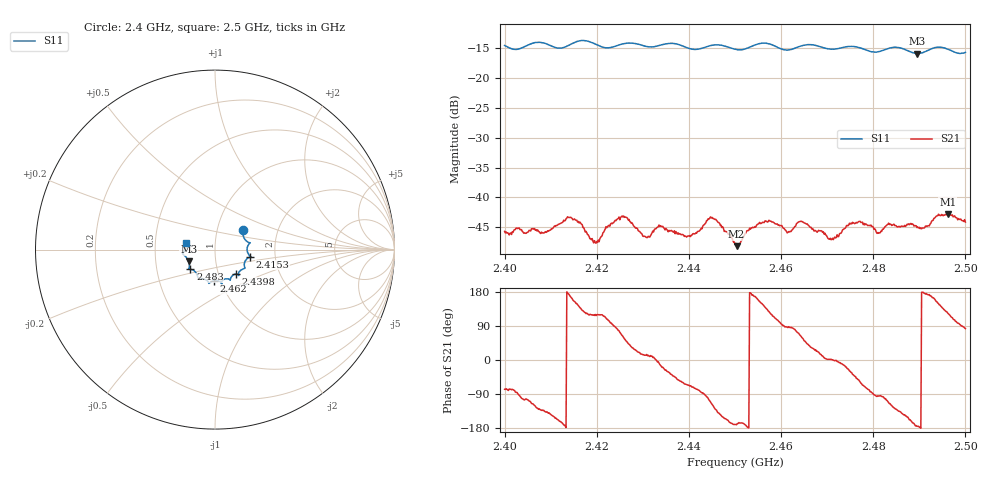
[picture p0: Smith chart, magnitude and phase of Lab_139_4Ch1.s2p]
# Hz S RI R 50
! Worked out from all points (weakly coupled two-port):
!   601 points, 2.4 GHz to 2.5 GHz, reference 50 ohm
!   highest |S21| = -42.79 dB at 2.4962 GHz (marker M1); lowest = -48.2 dB at 2.4503 GHz (marker M2)
!   lowest |S11| = -15.9 dB at 2.4895 GHz (marker M3), VSWR 1.38, Z = 36.9 - j5 ohm
!   |S11| at or under -10 dB: start of sweep to end of sweep
!   S12 and S22 are empty: the file has one direction only
!   S11 on the Smith chart (normalised r, x): 2.4 GHz: 1.33, +0.29; 2.4153 GHz: 1.48, -0.12; 2.4398 GHz: 1.21, -0.34; 2.462 GHz: 0.93, -0.33; 2.483 GHz: 0.74, -0.17; 2.5 GHz: 0.72, +0.06
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2.4e9  0.1549 0.1066  0.00114 -0.00506  0 0  0 0
2.415333e9  0.1967 -0.0385  -0.00574 0.00299  0 0  0 0
2.416667e9  0.2025 -0.0426  -0.00414 0.00431  0 0  0 0
2.419667e9  0.188 -0.0446  -0.0021 0.00361  0 0  0 0
2.425333e9  0.1655 -0.0979  0.00267 0.00634  0 0  0 0
2.4305e9  0.1475 -0.1123  0.0046 0.00101  0 0  0 0
2.433333e9  0.131 -0.1335  0.00566 -0.00043  0 0  0 0
2.439833e9  0.1151 -0.1361  0.00187 -0.00437  0 0  0 0
2.445e9  0.0846 -0.1685  -0.00303 -0.00609  0 0  0 0
2.45e9  0.0647 -0.1625  -0.00396 -0.000682  0 0  0 0
2.450333e9  0.061 -0.1626  -0.00385 -0.000629  0 0  0 0
2.456333e9  0.0388 -0.193  -0.00485 0.00379  0 0  0 0
2.462e9  -0.00496 -0.1734  0.000429 0.00518  0 0  0 0
2.464167e9  -0.0281 -0.1832  0.0027 0.0057  0 0  0 0
2.466667e9  -0.0341 -0.1877  0.0046 0.00287  0 0  0 0
2.470833e9  -0.0566 -0.1657  0.00442 0.000151  0 0  0 0
2.475333e9  -0.0931 -0.1597  0.005 -0.00332  0 0  0 0
2.483e9  -0.1375 -0.1097  -0.00171 -0.00563  0 0  0 0
2.483333e9  -0.1401 -0.1096  -0.00232 -0.00563  0 0  0 0
2.4895e9  -0.1466 -0.066  -0.00557 -0.00048  0 0  0 0
2.496167e9  -0.1747 -0.0138  -0.00402 0.00603  0 0  0 0
2.5e9  -0.1597 0.0393  0.000766 0.00616  0 0  0 0
